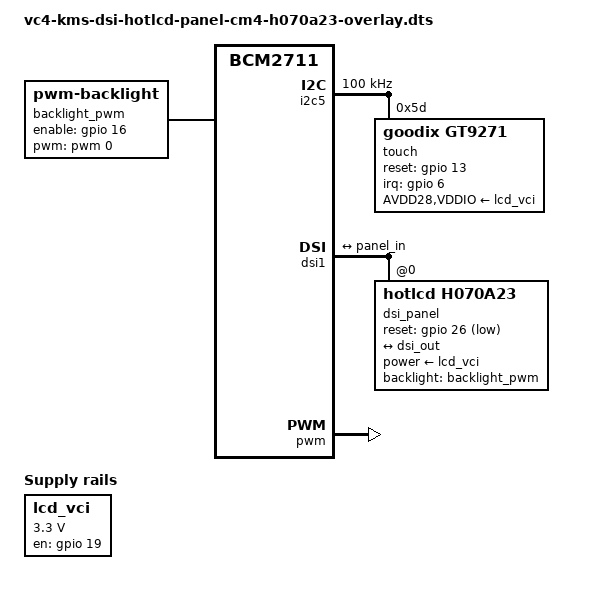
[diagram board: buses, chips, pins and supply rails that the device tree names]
/*
 * HTM-H070A23-RpiCM4-A02_V0: DSI1, I2C5 and PWM0 backlight.
 * R3 is fitted as a 6.8k-ohm pull-up; do not use 0 ohms with GPIO26 reset.
 */

/dts-v1/;
/plugin/;

/ {
	compatible = "brcm,bcm2711";

	fragment@0 {
		target = <&i2c5>;
		__overlay__ {
			#address-cells = <1>;
			#size-cells = <0>;
			clock-frequency = <100000>;
			status = "okay";

			touch: goodix@5d {
				compatible = "goodix,gt9271";
				reg = <0x5d>;

				pinctrl-names = "default";
				pinctrl-0 = <&tprst_pin &tpint_pin>;
				interrupt-parent = <&gpio>;
				interrupts = <6 2>; /* falling edge */
				reset-gpios = <&gpio 13 0>;
				irq-gpios = <&gpio 6 0>;
				AVDD28-supply = <&lcd_vci>;
				VDDIO-supply = <&lcd_vci>;
			};
		};
	};

	fragment@1 {
		target = <&dsi1>;
		__overlay__ {
			#address-cells = <1>;
			#size-cells = <0>;
			status = "okay";

			port {
				dsi_out: endpoint {
					remote-endpoint = <&panel_in>;
				};
			};

			dsi_panel: dsi_panel@0 {
				compatible = "hotlcd,h070a23";
				reg = <0>;
				pinctrl-names = "default";
				pinctrl-0 = <&rst_pin>;
				reset-gpios = <&gpio 26 1>; /* active low */
				power-supply = <&lcd_vci>;
				backlight = <&backlight_pwm>;

				port {
					panel_in: endpoint {
						remote-endpoint = <&dsi_out>;
					};
				};
			};
		};
	};

	fragment@2 {
		target = <&gpio>;
		__overlay__ {
			rst_pin: rst_pin {
				brcm,pins = <26>;
				brcm,function = <1>; /* output */
				brcm,pull = <0>;
			};
			tprst_pin: tprst_pin {
				brcm,pins = <13>;
				brcm,function = <1>; /* output */
				brcm,pull = <0>;
			};
			tpint_pin: tpint_pin {
				brcm,pins = <6>;
				brcm,function = <0>; /* input */
				brcm,pull = <0>;
			};
			backlight_pin: backlight_pin {
				brcm,pins = <16>;
				brcm,function = <1>; /* output */
				brcm,pull = <0>;
			};
			backlight_pwm_pin: backlight_pwm_pin {
				brcm,pins = <12>;
				brcm,function = <4>; /* ALT0: PWM0 */
				brcm,pull = <0>;
			};
			lcd_power_pin: lcd_power_pin {
				brcm,pins = <19>;
				brcm,function = <1>; /* output */
				brcm,pull = <0>;
			};
		};
	};

	fragment@3 {
		target = <&i2c5_pins>;
		__overlay__ {
			/* I2C5 defaults to GPIO12/13, which this board uses elsewhere. */
			brcm,pins = <10 11>;
		};
	};

	fragment@4 {
		target = <&pwm>;
		__overlay__ {
			pinctrl-names = "default";
			pinctrl-0 = <&backlight_pwm_pin>;
			status = "okay";
		};
	};

	fragment@5 {
		target-path = "/";
		__overlay__ {
			lcd_vci: regulator-lcd-vci {
				compatible = "regulator-fixed";
				regulator-name = "lcd-vci";
				regulator-min-microvolt = <3300000>;
				regulator-max-microvolt = <3300000>;
				pinctrl-names = "default";
				pinctrl-0 = <&lcd_power_pin>;
				gpio = <&gpio 19 0>;
				enable-active-high;
				startup-delay-us = <50000>;
				/* LCD and touch share VCI; retain power during display blanking. */
				regulator-always-on;
			};

			backlight_pwm: backlight_pwm {
				compatible = "pwm-backlight";
				pinctrl-names = "default";
				pinctrl-0 = <&backlight_pin>;
				pwms = <&pwm 0 50000 0>; /* PWM0, 20kHz, normal polarity */
				enable-gpios = <&gpio 16 0>;
				brightness-levels = <
					0  1  2  3  4  5  6  7
					8  9  10 11 12 13 14 15
					16 17 18 19 20 21 22 23
					24 25 26 27 28 29 30 31
					32 33 34 35 36 37 38 39
					40 41 42 43 44 45 46 47
					48 49 50 51 52 53 54 55
					56 57 58 59 60 61 62 63
					64 65 66 67 68 69 70 71
					72 73 74 75 76 77 78 79
					80 81 82 83 84 85 86 87
					88 89 90 91 92 93 94 95
					96 97 98 99 100>;
				default-brightness-level = <80>;
			};
		};
	};

	__overrides__ {
		disable_touch = <&touch>, "status=disabled";
		invx = <&touch>, "touchscreen-inverted-x?";
		invy = <&touch>, "touchscreen-inverted-y?";
		swapxy = <&touch>, "touchscreen-swapped-x-y?";
	};
};
